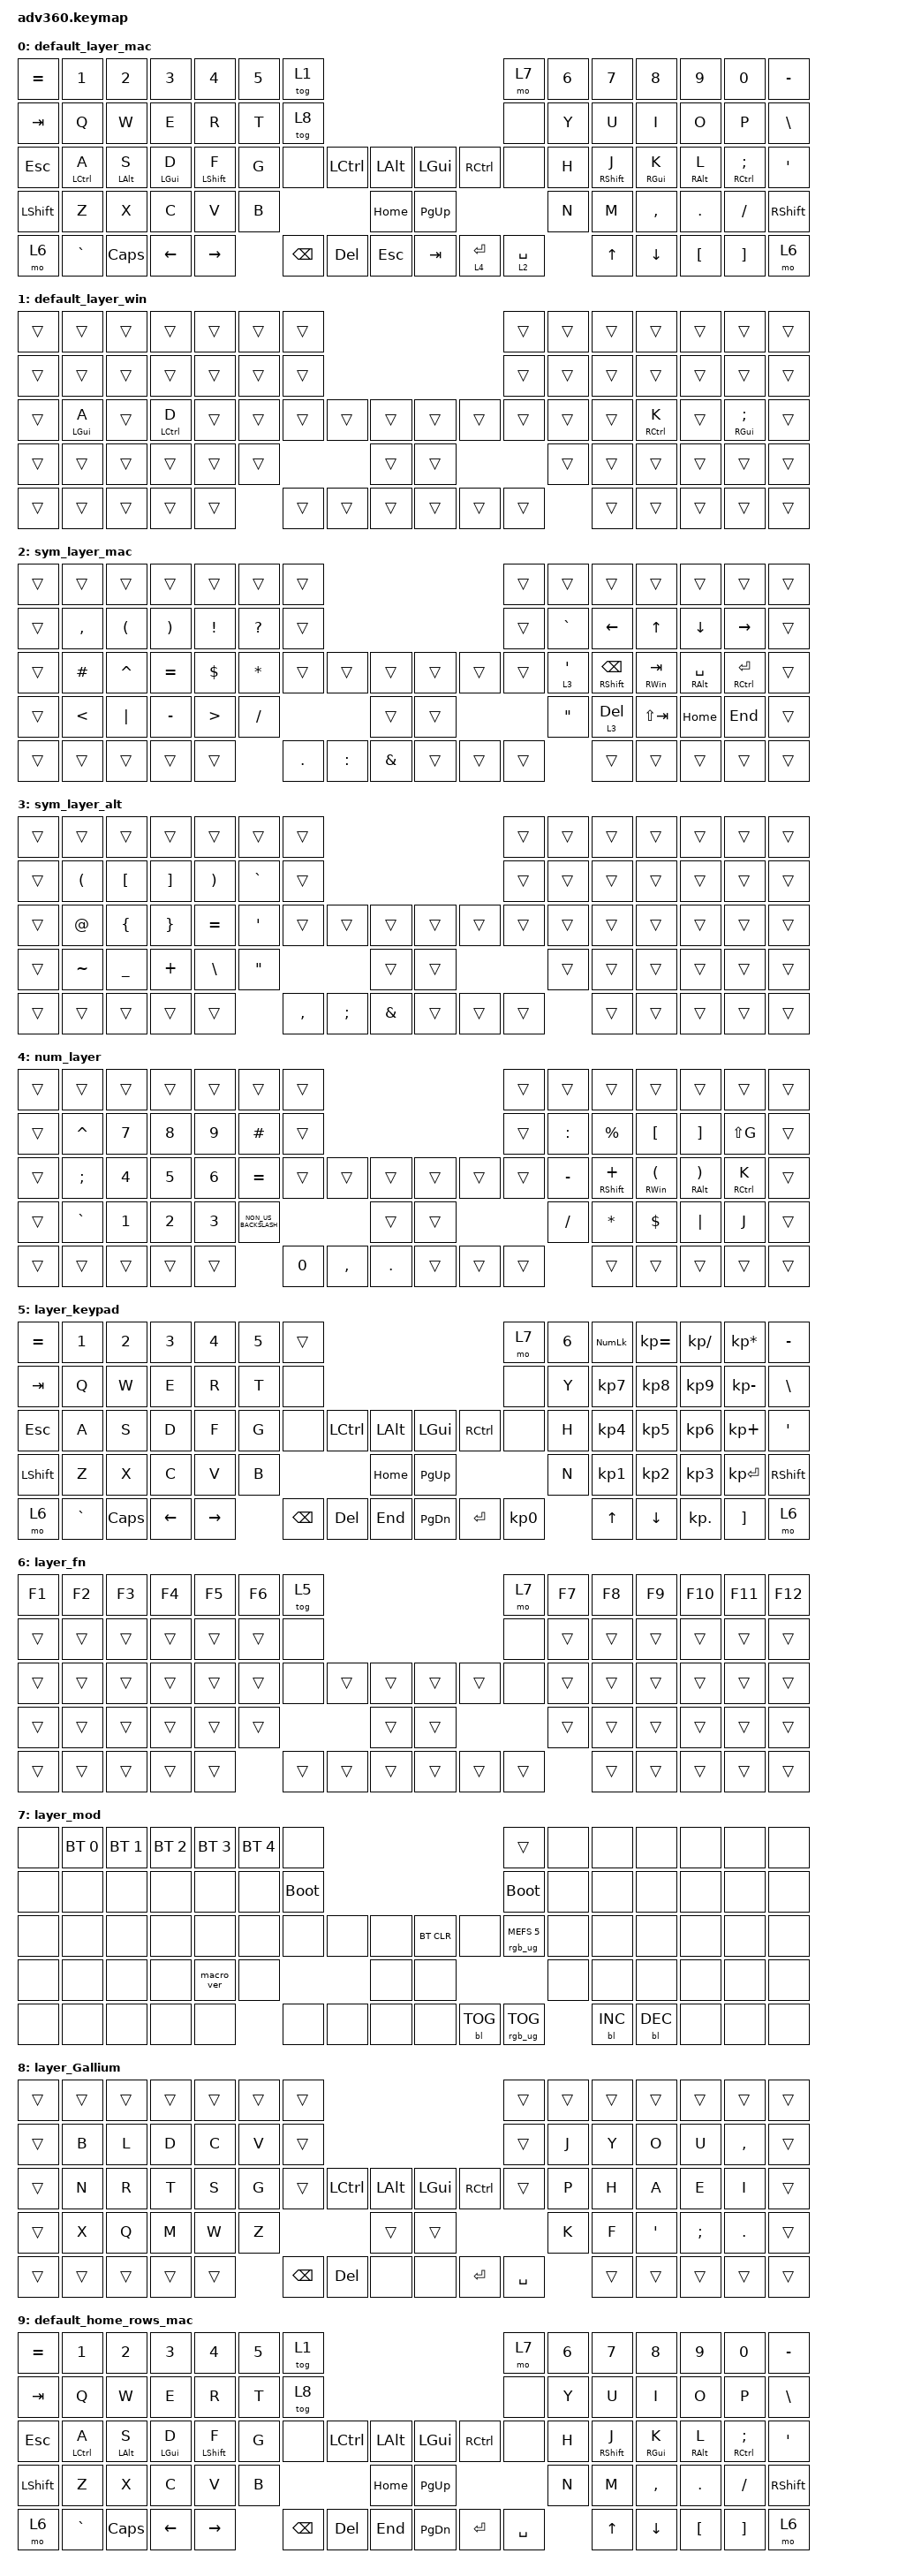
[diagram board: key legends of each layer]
/*
 * Copyright (c) 2020 The ZMK Contributors
 *
 * SPDX-License-Identifier: MIT
 */
/* THIS FILE WAS GENERATED!
 *
 * This file was generated automatically. You may or may not want to
 * edit it directly.
 */

#include <behaviors.dtsi>
#include <dt-bindings/zmk/backlight.h>
#include <dt-bindings/zmk/bt.h>
#include <dt-bindings/zmk/keys.h>
#include <dt-bindings/zmk/rgb.h>

/ {
    behaviors {
        #include "macros.dtsi"
    #include "version.dtsi"

        hml: homerow_mods_l {
            compatible = "zmk,behavior-hold-tap";
            label = "HOMEROW_MODS_L";
            #binding-cells = <2>;
            tapping-term-ms = <280>;
            flavor = "balanced";
            bindings = <&kp>, <&kp>;

            hold-trigger-key-positions = <41 42 43 44>;
            quick-tap-ms = <175>;
            require-prior-idle-ms = <150>;
            hold-trigger-on-release;
        };

        hmr: homerow_mods_r {
            compatible = "zmk,behavior-hold-tap";
            label = "HOMEROW_MODS_R";
            #binding-cells = <2>;
            tapping-term-ms = <280>;
            flavor = "balanced";
            bindings = <&kp>, <&kp>;

            hold-trigger-key-positions = <32 31 30 29>;
            quick-tap-ms = <175>;
            require-prior-idle-ms = <150>;
            hold-trigger-on-release;
        };

        lt_space: lt_space {
            compatible = "zmk,behavior-hold-tap";
            label = "LT_SPACE";
            #binding-cells = <2>;

            // favor taps unless you actually start another key

            flavor = "balanced"; // or "tap-preferred"
            tapping-term-ms = <280>;           // try 250–320
            quick-tap-ms = <175>;              // optional
            bindings = <&mo>, <&kp>;

            // hold -> &mo, tap -> &kp

            require-prior-idle-ms = <150>;
            hold-trigger-on-release;
            retro-tap;
        };

        lt_enter: lt_enter {
            compatible = "zmk,behavior-hold-tap";
            label = "LT_ENTER";
            #binding-cells = <2>;
            flavor = "balanced";
            tapping-term-ms = <280>;
            quick-tap-ms = <175>;
            bindings = <&mo>, <&kp>;

            require-prior-idle-ms = <150>;
            retro-tap;
            hold-trigger-on-release;
        };
    };

    keymap {
        compatible = "zmk,keymap";

        default_layer_mac {
            bindings = <
&kp EQUAL  &kp N1               &kp N2           &kp N3           &kp N4             &kp N5  &tog 1                                                           &mo 7              &kp N6  &kp N7              &kp N8            &kp N9            &kp N0                   &kp MINUS
&kp TAB    &kp Q                &kp W            &kp E            &kp R              &kp T   &tog 8                                                           &none              &kp Y   &kp U               &kp I             &kp O             &kp P                    &kp BSLH
&kp ESC    &hml LEFT_CONTROL A  &hml LEFT_ALT S  &hml LEFT_GUI D  &hml LEFT_SHIFT F  &kp G   &none     &kp LCTRL  &kp LALT      &kp LGUI   &kp RCTRL          &none              &kp H   &hmr RIGHT_SHIFT J  &hmr RIGHT_GUI K  &hmr RIGHT_ALT L  &hmr RIGHT_CONTROL SEMI  &kp SQT
&kp LSHFT  &kp Z                &kp X            &kp C            &kp V              &kp B                        &kp HOME      &kp PG_UP                                        &kp N   &kp M               &kp COMMA         &kp DOT           &kp FSLH                 &kp RSHFT
&mo 6      &kp GRAVE            &kp CAPS         &kp LEFT         &kp RIGHT                  &kp BSPC  &kp DEL    &kp ESC       &kp TAB    &lt_enter 4 ENTER  &lt_space 2 SPACE          &kp UP              &kp DOWN          &kp LBKT          &kp RBKT                 &mo 6
            >;
        };

        default_layer_win {
            bindings = <
&trans  &trans           &trans  &trans               &trans  &trans  &trans                                      &trans  &trans  &trans  &trans                &trans  &trans                    &trans
&trans  &trans           &trans  &trans               &trans  &trans  &trans                                      &trans  &trans  &trans  &trans                &trans  &trans                    &trans
&trans  &hml LEFT_GUI A  &trans  &hml LEFT_CONTROL D  &trans  &trans  &trans  &trans  &trans      &trans  &trans  &trans  &trans  &trans  &hmr RIGHT_CONTROL K  &trans  &hmr RIGHT_GUI SEMICOLON  &trans
&trans  &trans           &trans  &trans               &trans  &trans                  &trans      &trans                  &trans  &trans  &trans                &trans  &trans                    &trans
&trans  &trans           &trans  &trans               &trans          &trans  &trans  &trans      &trans  &trans  &trans          &trans  &trans                &trans  &trans                    &trans
            >;
        };

        sym_layer_mac {
            bindings = <
&trans  &trans         &trans                &trans                 &trans            &trans        &trans                                                    &trans  &trans              &trans                      &trans              &trans                &trans                    &trans
&trans  &kp COMMA      &kp LEFT_PARENTHESIS  &kp RIGHT_PARENTHESIS  &kp EXCLAMATION   &kp QUESTION  &trans                                                    &trans  &kp GRAVE           &kp LEFT_ARROW              &kp UP_ARROW        &kp DOWN_ARROW        &kp RIGHT_ARROW           &trans
&trans  &kp HASH       &kp CARET             &kp EQUAL              &kp DOLLAR        &kp ASTERISK  &trans      &trans     &trans             &trans  &trans  &trans  &lt 3 SINGLE_QUOTE  &hmr RIGHT_SHIFT BACKSPACE  &hmr RIGHT_WIN TAB  &hmr RIGHT_ALT SPACE  &hmr RIGHT_CONTROL ENTER  &trans
&trans  &kp LESS_THAN  &kp PIPE              &kp MINUS              &kp GREATER_THAN  &kp SLASH                            &trans             &trans                  &kp DOUBLE_QUOTES   &lt 3 DELETE                &kp LS(TAB)         &kp HOME              &kp END                   &trans
&trans  &trans         &trans                &trans                 &trans                          &kp PERIOD  &kp COLON  &kp AMPERSAND      &trans  &trans  &trans                      &trans                      &trans              &trans                &trans                    &trans
            >;
        };

        sym_layer_alt {
            bindings = <
&trans  &trans     &trans     &trans    &trans     &trans             &trans                                                  &trans  &trans  &trans  &trans  &trans  &trans  &trans
&trans  &kp LPAR   &kp LBKT   &kp RBKT  &kp RPAR   &kp GRAVE          &trans                                                  &trans  &trans  &trans  &trans  &trans  &trans  &trans
&trans  &kp AT     &kp LBRC   &kp RBRC  &kp EQUAL  &kp SQT            &trans     &trans    &trans             &trans  &trans  &trans  &trans  &trans  &trans  &trans  &trans  &trans
&trans  &kp TILDE  &kp UNDER  &kp PLUS  &kp BSLH   &kp DOUBLE_QUOTES                       &trans             &trans                  &trans  &trans  &trans  &trans  &trans  &trans
&trans  &trans     &trans     &trans    &trans                        &kp COMMA  &kp SEMI  &kp AMPERSAND      &trans  &trans  &trans          &trans  &trans  &trans  &trans  &trans
            >;
        };

        num_layer {
            bindings = <
&trans  &trans         &trans        &trans        &trans        &trans                &trans                                             &trans  &trans     &trans                 &trans                           &trans                            &trans                &trans
&trans  &kp CARET      &kp N7        &kp N8        &kp N9        &kp HASH              &trans                                             &trans  &kp COLON  &kp PERCENT            &kp LEFT_BRACKET                 &kp RIGHT_BRACKET                 &kp LS(G)             &trans
&trans  &kp SEMICOLON  &kp NUMBER_4  &kp N5        &kp NUMBER_6  &kp EQUAL             &trans  &trans     &trans          &trans  &trans  &trans  &kp MINUS  &hmr RIGHT_SHIFT PLUS  &hmr RIGHT_WIN LEFT_PARENTHESIS  &hmr RIGHT_ALT RIGHT_PARENTHESIS  &hmr RIGHT_CONTROL K  &trans
&trans  &kp GRAVE      &kp NUMBER_1  &kp NUMBER_2  &kp NUMBER_3  &kp NON_US_BACKSLASH                     &trans          &trans                  &kp SLASH  &kp ASTERISK           &kp DOLLAR                       &kp PIPE                          &kp J                 &trans
&trans  &trans         &trans        &trans        &trans                              &kp N0  &kp COMMA  &kp PERIOD      &trans  &trans  &trans             &trans                 &trans                           &trans                            &trans                &trans
            >;
        };

        layer_keypad {
            bindings = <
&kp EQUAL  &kp N1     &kp N2    &kp N3    &kp N4     &kp N5  &trans                                                   &mo 7      &kp N6  &kp KP_NUM  &kp KP_EQUAL  &kp KP_DIVIDE  &kp KP_MULTIPLY  &kp MINUS
&kp TAB    &kp Q      &kp W     &kp E     &kp R      &kp T   &none                                                    &none      &kp Y   &kp KP_N7   &kp KP_N8     &kp KP_N9      &kp KP_MINUS     &kp BSLH
&kp ESC    &kp A      &kp S     &kp D     &kp F      &kp G   &none     &kp LCTRL  &kp LALT      &kp LGUI   &kp RCTRL  &none      &kp H   &kp KP_N4   &kp KP_N5     &kp KP_N6      &kp KP_PLUS      &kp SQT
&kp LSHFT  &kp Z      &kp X     &kp C     &kp V      &kp B                        &kp HOME      &kp PG_UP                        &kp N   &kp KP_N1   &kp KP_N2     &kp KP_N3      &kp KP_ENTER     &kp RSHFT
&mo 6      &kp GRAVE  &kp CAPS  &kp LEFT  &kp RIGHT          &kp BSPC  &kp DEL    &kp END       &kp PG_DN  &kp ENTER  &kp KP_N0          &kp UP      &kp DOWN      &kp KP_DOT     &kp RBKT         &mo 6
            >;
        };

        layer_fn {
            bindings = <
&kp F1  &kp F2  &kp F3  &kp F4  &kp F5  &kp F6  &tog 5                                      &mo 7   &kp F7  &kp F8  &kp F9  &kp F10  &kp F11  &kp F12
&trans  &trans  &trans  &trans  &trans  &trans  &none                                       &none   &trans  &trans  &trans  &trans   &trans   &trans
&trans  &trans  &trans  &trans  &trans  &trans  &none   &trans  &trans      &trans  &trans  &none   &trans  &trans  &trans  &trans   &trans   &trans
&trans  &trans  &trans  &trans  &trans  &trans                  &trans      &trans                  &trans  &trans  &trans  &trans   &trans   &trans
&trans  &trans  &trans  &trans  &trans          &trans  &trans  &trans      &trans  &trans  &trans          &trans  &trans  &trans   &trans   &trans
            >;
        };

        layer_mod {
            bindings = <
&none  &bt BT_SEL 0  &bt BT_SEL 1  &bt BT_SEL 2  &bt BT_SEL 3  &bt BT_SEL 4  &none                                                  &trans                  &none  &none       &none       &none  &none  &none
&none  &none         &none         &none         &none         &none         &bootloader                                            &bootloader             &none  &none       &none       &none  &none  &none
&none  &none         &none         &none         &none         &none         &none        &none  &none      &bt BT_CLR  &none       &rgb_ug RGB_MEFS_CMD 5  &none  &none       &none       &none  &none  &none
&none  &none         &none         &none         &macro_ver    &none                             &none      &none                                           &none  &none       &none       &none  &none  &none
&none  &none         &none         &none         &none                       &none        &none  &none      &none       &bl BL_TOG  &rgb_ug RGB_TOG                &bl BL_INC  &bl BL_DEC  &none  &none  &none
            >;
        };

        layer_Gallium {
            bindings = <
&trans  &trans  &trans  &trans  &trans  &trans  &trans                                                                          &trans     &trans  &trans  &trans    &trans    &trans     &trans
&trans  &kp B   &kp L   &kp D   &kp C   &kp V   &trans                                                                          &trans     &kp J   &kp Y   &kp O     &kp U     &kp COMMA  &trans
&trans  &kp N   &kp R   &kp T   &kp S   &kp G   &trans         &kp LEFT_CONTROL  &kp LEFT_ALT      &kp LGUI  &kp RIGHT_CONTROL  &trans     &kp P   &kp H   &kp A     &kp E     &kp I      &trans
&trans  &kp X   &kp Q   &kp M   &kp W   &kp Z                                    &trans            &trans                                  &kp K   &kp F   &kp APOS  &kp SEMI  &kp DOT    &trans
&trans  &trans  &trans  &trans  &trans          &kp BACKSPACE  &kp DELETE        &none             &none     &kp ENTER          &kp SPACE          &trans  &trans    &trans    &trans     &trans
            >;
        };

        default_home_rows_mac {
            bindings = <
&kp EQUAL  &kp N1               &kp N2           &kp N3           &kp N4             &kp N5  &tog 1                                                   &mo 7      &kp N6  &kp N7              &kp N8            &kp N9            &kp N0                   &kp MINUS
&kp TAB    &kp Q                &kp W            &kp E            &kp R              &kp T   &tog 8                                                   &none      &kp Y   &kp U               &kp I             &kp O             &kp P                    &kp BSLH
&kp ESC    &hml LEFT_CONTROL A  &hml LEFT_ALT S  &hml LEFT_GUI D  &hml LEFT_SHIFT F  &kp G   &none     &kp LCTRL  &kp LALT      &kp LGUI   &kp RCTRL  &none      &kp H   &hmr RIGHT_SHIFT J  &hmr RIGHT_GUI K  &hmr RIGHT_ALT L  &hmr RIGHT_CONTROL SEMI  &kp SQT
&kp LSHFT  &kp Z                &kp X            &kp C            &kp V              &kp B                        &kp HOME      &kp PG_UP                        &kp N   &kp M               &kp COMMA         &kp DOT           &kp FSLH                 &kp RSHFT
&mo 6      &kp GRAVE            &kp CAPS         &kp LEFT         &kp RIGHT                  &kp BSPC  &kp DEL    &kp END       &kp PG_DN  &kp ENTER  &kp SPACE          &kp UP              &kp DOWN          &kp LBKT          &kp RBKT                 &mo 6
            >;
        };
    };
};
